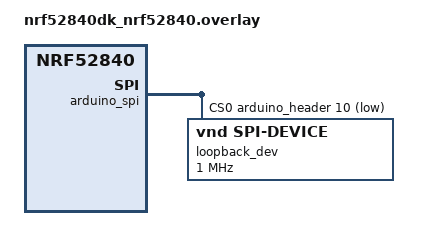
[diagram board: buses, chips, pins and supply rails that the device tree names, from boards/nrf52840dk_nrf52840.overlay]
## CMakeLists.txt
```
cmake_minimum_required(VERSION 3.20.0)

find_package(Zephyr REQUIRED HINTS $ENV{ZEPHYR_BASE})

project(spi_loopback)

target_sources(app PRIVATE src/main.c)
```

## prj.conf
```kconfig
CONFIG_SPI=y
CONFIG_LOG=y
CONFIG_LOG_MODE_IMMEDIATE=y
```

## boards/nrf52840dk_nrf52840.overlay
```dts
&arduino_spi {
	status = "okay";
	cs-gpios = <&arduino_header 10 GPIO_ACTIVE_LOW>;

	loopback_dev: loopback@0 {
		compatible = "vnd,spi-device";
		reg = <0>;
		spi-max-frequency = <1000000>;
	};
};
```

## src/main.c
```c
#include <stddef.h>
#include <stdint.h>
#include <zephyr/kernel.h>
#include <zephyr/device.h>
#include <zephyr/drivers/spi.h>
#include <zephyr/sys/printk.h>

static const struct spi_dt_spec spi = SPI_DT_SPEC_GET(DT_NODELABEL(loopback_dev),
                                                        SPI_WORD_SET(8) | SPI_TRANSFER_MSB, 0);

int main(void) {
    if (!spi_is_ready_dt(&spi)) {
        printk("spi device not ready\n");

        return -1;
    }

    // tables 2 sending and receiving
    const uint8_t tx_buf[4] = {0xDE, 0xAD, 0xBE, 0xEF};
    uint8_t rx_buf[4] = {0};
    // spi_buf & spi_buf_set struct 4 tx and rx
    const struct spi_buf tx_spi_buf = {
        .buf = (void *)tx_buf, 
        .len = sizeof tx_buf
    };
    // buf_set 4 packing buffers
    const struct spi_buf_set tx_set = {
        .buffers = &tx_spi_buf, 
        .count = 1
    };
    const struct spi_buf rx_spi_buf = {
        .buf = rx_buf, 
        .len = sizeof rx_buf
    };
    const struct spi_buf_set rx_set = {
        .buffers = &rx_spi_buf, .count = 1
    };

    // send & receive data
    const int rc = spi_transceive_dt(&spi, &tx_set, &rx_set);

    if (rc != 0) {
        printk("spi_transceive_dt failed: %d\n", rc);

        return rc;
    }

    bool match = true;

    // print tx and rx data & check if they match
    for (size_t i = 0; i < sizeof tx_buf; i++) {
        printk("tx[%zu]=0x%02x rx[%zu]=0x%02x\n", i, tx_buf[i], i, rx_buf[i]);
        
        match = match && (tx_buf[i] == rx_buf[i]);
    }

    printk(match ? "loopback ok\n" : "loopback missmatch\n");
    
    return 0;
}
```
